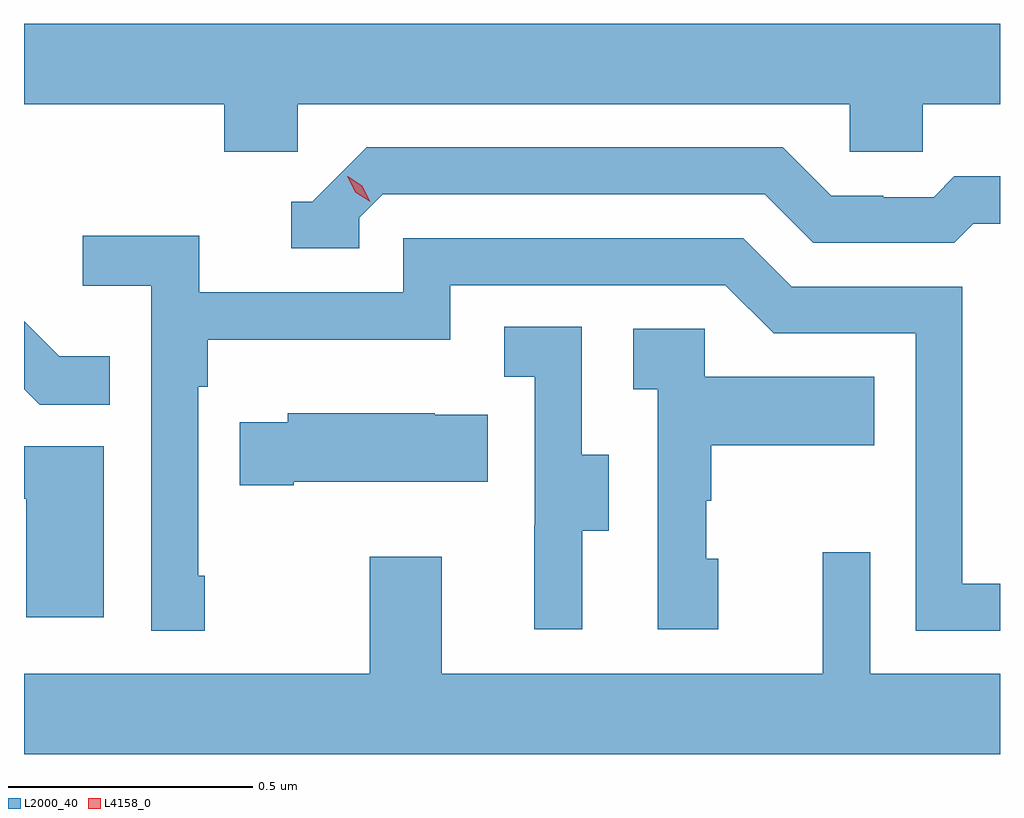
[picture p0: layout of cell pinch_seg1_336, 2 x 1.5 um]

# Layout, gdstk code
import gdstk
lib = gdstk.Library(unit=1e-6, precision=1e-09)
def P(c, l, *ps):  # polygons
    for p in ps: c.add(gdstk.Polygon(p, *l))
L2000_40 = (2000, 40)
L4158_0 = (4158, 0)

pinch_seg1_336 = lib.new_cell('pinch_seg1_336')
P(pinch_seg1_336, L2000_40, [(1009.722,562.388),(1010.853,562.388),(1010.853,562.29),(1011.003,562.29),(1011.003,562.388),(1011.161,562.388),(1011.161,562.552),(1009.161,562.552),(1009.161,562.388),(1009.571,562.388),(1009.571,562.29),(1009.722,562.29)],
  [(1009.848,562.155),(1009.896,562.203),(1010.679,562.203),(1010.778,562.104),(1011.067,562.104),(1011.106,562.143),(1011.161,562.143),(1011.161,562.24),(1011.067,562.24),(1011.025,562.197),(1010.922,562.197),(1010.922,562.2),(1010.815,562.2),(1010.716,562.299),(1009.863,562.299),(1009.752,562.188),(1009.709,562.188),(1009.709,562.092),(1009.848,562.092)],
  [(1009.531,561.421),(1009.518,561.421),(1009.518,561.809),(1009.538,561.809),(1009.538,561.905),(1010.034,561.905),(1010.034,562.017),(1010.598,562.017),(1010.697,561.918),(1010.988,561.918),(1010.988,561.309),(1011.161,561.309),(1011.161,561.405),(1011.084,561.405),(1011.084,562.014),(1010.734,562.014),(1010.635,562.113),(1009.938,562.113),(1009.938,562.002),(1009.52,562.002),(1009.52,562.118),(1009.281,562.118),(1009.281,562.016),(1009.422,562.016),(1009.422,561.309),(1009.531,561.309)],
  [(1009.337,561.871),(1009.233,561.871),(1009.161,561.943),(1009.161,561.804),(1009.193,561.772),(1009.337,561.772)],
  [(1010.305,561.514),(1010.359,561.514),(1010.359,561.669),(1010.304,561.669),(1010.304,561.932),(1010.145,561.932),(1010.145,561.829),(1010.208,561.829),(1010.208,561.525),(1010.207,561.525),(1010.207,561.312),(1010.305,561.312)],
  [(1010.584,561.456),(1010.559,561.456),(1010.559,561.575),(1010.569,561.575),(1010.569,561.689),(1010.903,561.689),(1010.903,561.829),(1010.556,561.829),(1010.556,561.927),(1010.409,561.927),(1010.409,561.803),(1010.46,561.803),(1010.46,561.312),(1010.584,561.312)],
  [(1009.714,561.614),(1010.111,561.614),(1010.111,561.751),(1010.003,561.751),(1010.003,561.754),(1009.701,561.754),(1009.701,561.736),(1009.603,561.736),(1009.603,561.607),(1009.714,561.607)],
  [(1009.324,561.687),(1009.161,561.687),(1009.161,561.579),(1009.166,561.579),(1009.166,561.336),(1009.324,561.336)],
  [(1011.161,561.22),(1010.895,561.22),(1010.895,561.469),(1010.798,561.469),(1010.798,561.22),(1010.017,561.22),(1010.017,561.46),(1009.87,561.46),(1009.87,561.22),(1009.161,561.22),(1009.161,561.056),(1011.161,561.056)])
P(pinch_seg1_336, L4158_0, [(1009.871,562.188),(1009.84,562.207),(1009.823,562.24),(1009.823,562.24),(1009.824,562.24),(1009.854,562.221),(1009.871,562.188),(1009.871,562.188)])

lib.write_gds('pinch_seg1_336.gds')
